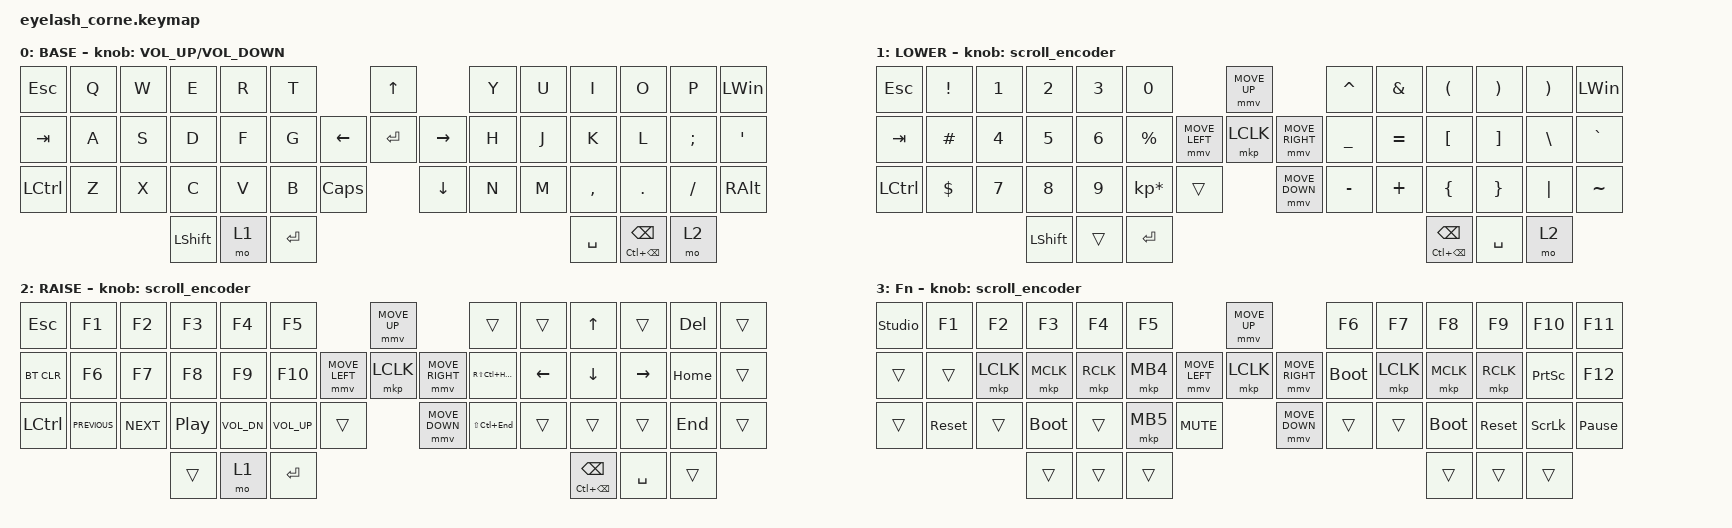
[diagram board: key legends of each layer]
#define ZMK_POINTING_DEFAULT_MOVE_VAL 1200  // 600
#define ZMK_POINTING_DEFAULT_SCRL_VAL 25   // 10

#include <input/processors.dtsi>
#include <zephyr/dt-bindings/input/input-event-codes.h>
#include <behaviors.dtsi>
#include <dt-bindings/zmk/bt.h>
#include <dt-bindings/zmk/keys.h>
#include <dt-bindings/zmk/outputs.h>
#include <dt-bindings/zmk/pointing.h>
#include <dt-bindings/zmk/rgb.h>

&mmv_input_listener { input-processors = <&zip_xy_scaler 2 1>; };

&msc_input_listener { input-processors = <&zip_scroll_scaler 2 1>; };

&msc {
    acceleration-exponent = <1>;      // 0
    time-to-max-speed-ms = <100>;       // 300
    delay-ms = <0>;                   // 0
};

&mmv {
    time-to-max-speed-ms = <500>;
    acceleration-exponent = <1>;
    trigger-period-ms = <16>;
};

/ {
    behaviors {
        td0: td0 {
            compatible = "zmk,behavior-tap-dance";
            display-name = "Shift/Caps Lock Tap Dance";
            #binding-cells = <0>;
            bindings = <&kp LEFT_SHIFT>, <&kp CAPS>;
        };
    };

    rgb_encoder: rgb_encoder {
        compatible = "zmk,behavior-sensor-rotate";
        #sensor-binding-cells = <0>;
        bindings = <&rgb_ug RGB_BRI>, <&rgb_ug RGB_BRD>;
    };

    scroll_encoder: scroll_encoder {
        compatible = "zmk,behavior-sensor-rotate";
        #sensor-binding-cells = <0>;
        bindings = <&msc SCRL_DOWN>, <&msc SCRL_UP>;

        tap-ms = <100>;
    };

    keymap {
        compatible = "zmk,keymap";

        default_layer {
            display-name = "BASE";
            bindings = <
&kp ESCAPE    &kp Q  &kp W  &kp E     &kp R  &kp T                               &kp UP                &kp Y        &kp U  &kp I      &kp O    &kp P     &kp LEFT_WIN
&kp TAB       &kp A  &kp S  &kp D     &kp F  &kp G                     &kp LEFT  &kp ENTER  &kp RIGHT  &kp H        &kp J  &kp K      &kp L    &kp SEMI  &kp SQT
&kp LCTRL  &kp Z  &kp X  &kp C     &kp V  &kp B        &kp CAPS              &kp DOWN                  &kp N        &kp M  &kp COMMA  &kp DOT  &kp FSLH  &kp RIGHT_ALT
                         &kp LEFT_SHIFT  &mo 1  &kp ENTER                                              &kp SPACE    &mt LC(BACKSPACE) BACKSPACE    &mo 2
            >;

            sensor-bindings = <&inc_dec_kp C_VOLUME_UP C_VOLUME_DOWN>;
        };

        lower_layer {
            display-name = "LOWER";
            bindings = <
&kp ESCAPE        &kp EXCL    &kp NUMBER_1  &kp NUMBER_2    &kp NUMBER_3  &kp N0                                  &mmv MOVE_UP                         &kp CARET  &kp AMPS                     &kp LEFT_PARENTHESIS  &kp RIGHT_PARENTHESIS  &kp RPAR  &kp LEFT_WIN
&kp TAB           &kp HASH    &kp NUMBER_4  &kp N5          &kp NUMBER_6  &kp PERCENT             &mmv MOVE_LEFT  &mkp LCLK       &mmv MOVE_RIGHT      &kp UNDER  &kp EQUAL                    &kp LBKT              &kp RBKT               &kp BSLH  &kp GRAVE
&kp LEFT_CONTROL  &kp DOLLAR  &kp N7        &kp N8          &kp N9        &kp KP_MULTIPLY   &trans                &mmv MOVE_DOWN                       &kp MINUS  &kp PLUS                     &kp LBRC              &kp RBRC               &kp PIPE  &kp TILDE
                                            &kp LEFT_SHIFT  &trans        &kp ENTER                                                                     &mt LC(BACKSPACE) BACKSPACE  &kp SPACE  &mo 2
            >;

            sensor-bindings = <&scroll_encoder>;
        };

        raise_layer {
            display-name = "RAISE";
            bindings = <
&kp ESCAPE        &kp F1          &kp F2      &kp F3            &kp F4        &kp F5                                      &mmv MOVE_UP                         &trans            &trans    &kp UP_ARROW  &trans     &kp DEL   &trans
&bt BT_CLR        &kp F6          &kp F7      &kp F8            &kp F9        &kp F10                       &mmv MOVE_LEFT  &mkp LCLK       &mmv MOVE_RIGHT    &kp RS(LC(HOME))  &kp LEFT  &kp DOWN      &kp RIGHT  &kp HOME  &trans
&kp LEFT_CONTROL  &kp C_PREVIOUS  &kp C_NEXT  &kp C_PLAY_PAUSE  &kp C_VOL_DN  &kp C_VOLUME_UP   &trans                    &mmv MOVE_DOWN                       &kp LS(LC(END))   &trans    &trans        &trans     &kp END   &trans
                                              &trans            &mo 1         &kp ENTER                                                            	            &mt LC(BACKSPACE) BACKSPACE  &kp SPACE  &trans
            >;

            sensor-bindings = <&scroll_encoder>;
        };

        layer_3 {
            display-name = "Fn";
            bindings = <
&studio_unlock  &kp F1      &kp F2     &kp F3       &kp F4     &kp F5                                  &mmv MOVE_UP                     &kp F6       &kp F7     &kp F8       &kp F9      &kp F10          &kp F11
&trans          &trans      &mkp LCLK  &mkp MCLK    &mkp RCLK  &mkp MB4                &mmv MOVE_LEFT  &mkp LCLK       &mmv MOVE_RIGHT  &bootloader  &mkp LCLK  &mkp MCLK    &mkp RCLK   &kp PRINTSCREEN  &kp F12
&trans          &sys_reset  &trans     &bootloader  &trans     &mkp MB5  &kp C_MUTE                    &mmv MOVE_DOWN                   &trans       &trans     &bootloader  &sys_reset  &kp SCROLLLOCK   &kp PAUSE_BREAK
                                       &trans       &trans     &trans                                                                   &trans       &trans     &trans
            >;

            sensor-bindings = <&scroll_encoder>;
        };
    };
};
